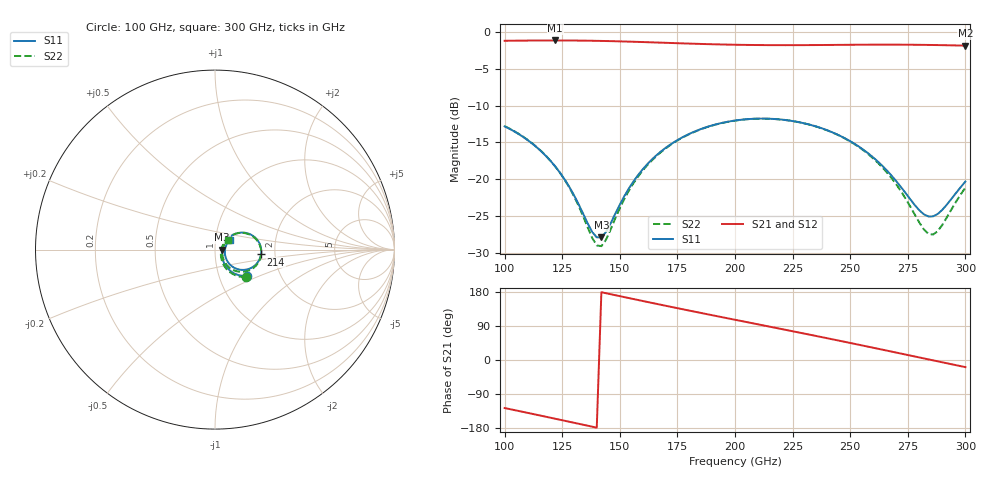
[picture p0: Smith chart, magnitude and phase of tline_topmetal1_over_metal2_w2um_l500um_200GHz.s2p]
#  GHZ S DB R 50
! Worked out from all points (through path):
!   101 points, 100 GHz to 300 GHz, reference 50 ohm
!   highest |S21| = -1.13 dB at 122 GHz (marker M1); lowest = -1.8 dB at 300 GHz (marker M2)
!   group delay of S21, straight-line fit = 3.47 ps
!   lowest |S11| = -27.9 dB at 142 GHz (marker M3), VSWR 1.08, Z = 54.2 - j0.0128 ohm
!   |S11| at or under -10 dB: start of sweep to end of sweep
!   |S22| runs from -29.1 to -11.8 dB; largest |S21 - S12| = 1.4e-15
!   S11 on the Smith chart (normalised r, x): 100 GHz: 1.35, -0.42; 214 GHz: 1.69, -0.10; 300 GHz: 1.17, +0.12
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100  -12.81 -39.8  -1.17 -126.7  -1.17 -126.7  -12.78 -41.6
112  -15.16 -50.4  -1.14 -142.1  -1.14 -142.1  -15.13 -52.8
122  -18.28 -56.3  -1.13 -155.0  -1.13 -155.0  -18.28 -59.6
128  -21.00 -55.9  -1.13 -162.9  -1.13 -162.9  -21.08 -60.2
134  -24.64 -46.8  -1.15 -170.7  -1.15 -170.7  -24.98 -52.6
138  -27.17 -29.1  -1.17 -175.9  -1.17 -175.9  -27.99 -34.9
140  -27.92 -15.4  -1.18 -178.5  -1.18 -178.5  -29.01 -19.7
142  -27.92 -0.2  -1.19 178.9  -1.19 178.9  -29.11 -2.0
156  -20.27 40.6  -1.30 160.8  -1.30 160.8  -20.51 41.7
168  -16.19 36.3  -1.43 145.5  -1.43 145.5  -16.28 36.3
184  -13.32 22.9  -1.59 125.7  -1.59 125.7  -13.36 22.1
200  -12.02 7.7  -1.71 106.2  -1.71 106.2  -12.03 6.1
214  -11.77 -5.9  -1.76 89.3  -1.76 89.3  -11.77 -8.1
234  -12.72 -24.9  -1.75 64.9  -1.75 64.9  -12.72 -28.2
252  -15.21 -39.7  -1.71 42.5  -1.71 42.5  -15.26 -44.7
260  -17.04 -43.9  -1.70 32.3  -1.70 32.3  -17.18 -50.3
268  -19.53 -44.5  -1.70 22.1  -1.70 22.1  -19.87 -52.8
280  -24.23 -25.1  -1.72 6.7  -1.72 6.7  -25.89 -35.5
284  -25.08 -9.2  -1.74 1.6  -1.74 1.6  -27.45 -15.2
286  -25.06 -0.4  -1.75 -1.0  -1.75 -1.0  -27.53 -2.8
290  -24.16 15.2  -1.77 -6.1  -1.77 -6.1  -26.21 18.5
300  -20.32 32.5  -1.83 -18.8  -1.83 -18.8  -21.15 37.3
